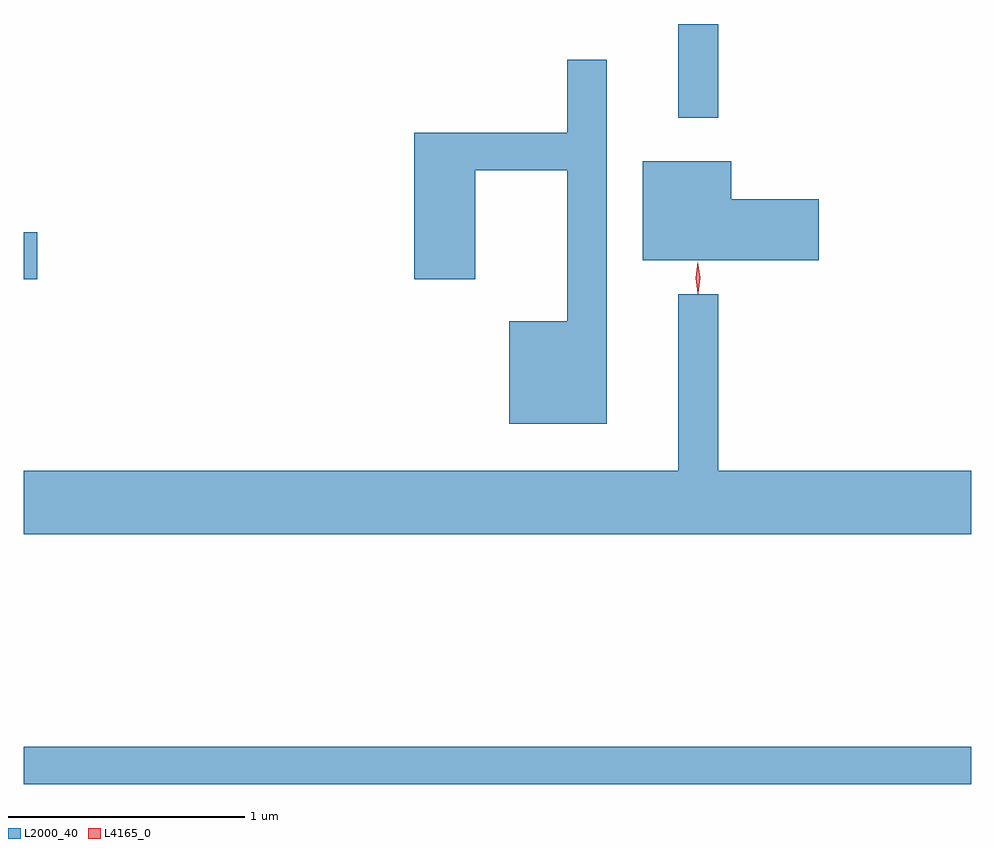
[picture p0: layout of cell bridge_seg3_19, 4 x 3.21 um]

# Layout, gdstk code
import gdstk
lib = gdstk.Library(unit=1e-6, precision=1e-09)
def R(c, l, rs):  # rectangles x0, y0, x1, y1
    for r in rs: c.add(gdstk.rectangle(r[:2], r[2:], *l))
def P(c, l, *ps):  # polygons
    for p in ps: c.add(gdstk.Polygon(p, *l))
L2000_40 = (2000, 40)
L4165_0 = (4165, 0)

bridge_seg3_19 = lib.new_cell('bridge_seg3_19')
R(bridge_seg3_19, L2000_40, [(1299.567,1171.581,1303.567,1171.739), (1299.567,1173.711,1299.624,1173.909), (1302.331,1174.393,1302.499,1174.789)])
P(bridge_seg3_19, L2000_40, [(1302.029,1174.638),(1301.861,1174.638),(1301.861,1174.329),(1301.216,1174.329),(1301.216,1173.711),(1301.474,1173.711),(1301.474,1174.171),(1301.861,1174.171),(1301.861,1173.534),(1301.616,1173.534),(1301.616,1173.101),(1302.029,1173.101)],
  [(1302.924,1174.049),(1302.554,1174.049),(1302.554,1174.209),(1302.181,1174.209),(1302.181,1173.791),(1302.924,1173.791)],
  [(1303.567,1172.904),(1302.499,1172.904),(1302.499,1173.648),(1302.331,1173.648),(1302.331,1172.904),(1299.567,1172.904),(1299.567,1172.636),(1303.567,1172.636)])
P(bridge_seg3_19, L4165_0, [(1302.413,1173.65),(1302.413,1173.65),(1302.403,1173.718),(1302.412,1173.785),(1302.412,1173.786),(1302.413,1173.785),(1302.423,1173.718),(1302.414,1173.65)],
  [(1302.413,1173.653),(1302.413,1173.654),(1302.403,1173.716),(1302.412,1173.78),(1302.413,1173.78),(1302.413,1173.78),(1302.423,1173.716),(1302.414,1173.654)])

lib.write_gds('bridge_seg3_19.gds')
